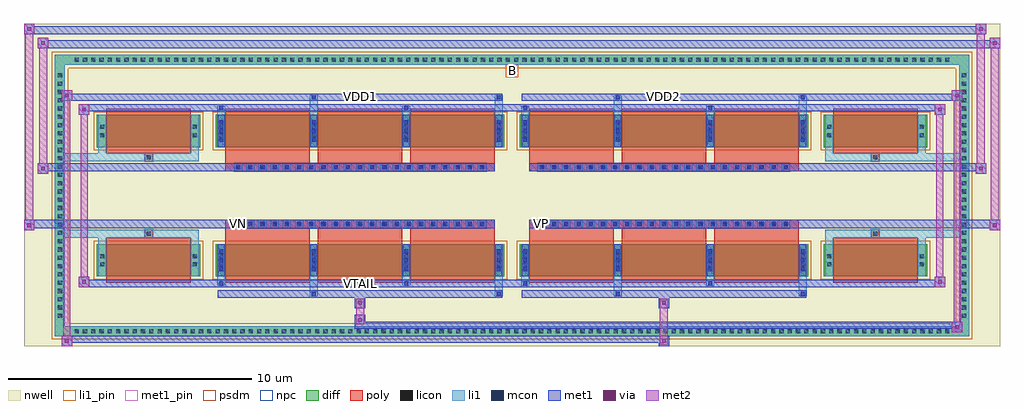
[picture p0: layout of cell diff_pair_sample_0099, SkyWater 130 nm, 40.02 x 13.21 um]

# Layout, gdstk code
import gdstk
lib = gdstk.Library(unit=1e-6, precision=5e-09)
def R(c, l, rs):  # rectangles x0, y0, x1, y1
    for r in rs: c.add(gdstk.rectangle(r[:2], r[2:], *l))
def A(c, l, x, y, w, h, nx, ny, dx, dy):  # array of equal rectangles
    R(c, l, [(x+i*dx, y+j*dy, x+i*dx+w, y+j*dy+h) for i in range(nx) for j in range(ny)])
def P(c, l, *ps):  # polygons
    for p in ps: c.add(gdstk.Polygon(p, *l))
nwell = (64, 20)
diff = (65, 20)
poly = (66, 20)
licon = (66, 44)
li1_pin = (67, 16)
li1 = (67, 20)
mcon = (67, 44)
met1_pin = (68, 16)
met1 = (68, 20)
via = (68, 44)
met2 = (69, 20)
psdm = (94, 20)
npc = (95, 20)

diff_pair_sample_0099 = lib.new_cell('diff_pair_sample_0099')
R(diff_pair_sample_0099, nwell, [(-20.01,-6.17,20.01,7.04), (-17.33,-4.36,-0.01,-0.8), (0.01,-4.36,17.33,-0.8), (-17.33,0.8,-0.01,4.36), (0.01,0.8,17.33,4.36)])
A(diff_pair_sample_0099, diff, -18.055, -5.77, 0.41, 0.41, 106, 2, 0.34, 11.13)
A(diff_pair_sample_0099, diff, -18.74, -5.135, 0.41, 0.41, 1, 30, 0, 0.34)
A(diff_pair_sample_0099, diff, 18.33, -5.135, 0.41, 0.41, 1, 30, 0, 0.34)
R(diff_pair_sample_0099, diff, [(-18.055,-5.77,18.055,-5.36), (-18.74,-5.135,-18.33,5.135), (18.33,-5.135,18.74,5.135), (-17.02,-3.315,-12.78,-1.985), (-12.14,-3.315,-0.32,-1.985), (0.32,-3.315,12.14,-1.985), (12.78,-3.315,17.02,-1.985), (-17.02,1.985,-12.78,3.315), (-12.14,1.985,-0.32,3.315), (0.32,1.985,12.14,3.315), (12.78,1.985,17.02,3.315), (-18.055,5.36,18.055,5.77)])
P(diff_pair_sample_0099, diff, [(18.74,5.77),(-18.74,5.77),(-18.74,-5.36),(-18.33,-5.36),(-18.33,5.36),(18.33,5.36),(18.33,-5.36),(-18.33,-5.36),(-18.74,-5.36),(-18.74,-5.77),(18.74,-5.77)])
A(diff_pair_sample_0099, poly, -11.75, -3.565, 3.46, 1.83, 3, 2, 3.79, 5.3)
A(diff_pair_sample_0099, poly, 0.71, -3.565, 3.46, 1.83, 3, 2, 3.79, 5.3)
A(diff_pair_sample_0099, poly, -11.75, -1.735, 3.46, 0.405, 3, 2, 3.79, 3.065)
A(diff_pair_sample_0099, poly, 0.71, -1.735, 3.46, 0.405, 3, 2, 3.79, 3.065)
A(diff_pair_sample_0099, poly, -11.395, -1.33, 0.33, 0.33, 21, 2, 0.5, 2.33)
A(diff_pair_sample_0099, poly, 1.065, -1.33, 0.33, 0.33, 21, 2, 0.5, 2.33)
R(diff_pair_sample_0099, poly, [(-16.63,-3.565,-13.17,-1.735), (13.17,-3.565,16.63,-1.735), (-15.065,-1.735,-14.735,-1.405), (-15.065,-1.735,-14.735,-1.405), (14.735,-1.735,15.065,-1.405), (14.735,-1.735,15.065,-1.405), (-11.75,-1.33,-0.71,-1), (0.71,-1.33,11.75,-1), (-11.75,1,-0.71,1.33), (0.71,1,11.75,1.33), (-15.065,1.405,-14.735,1.735), (-15.065,1.405,-14.735,1.735), (14.735,1.405,15.065,1.735), (14.735,1.405,15.065,1.735), (-16.63,1.735,-13.17,3.565), (13.17,1.735,16.63,3.565)])
A(diff_pair_sample_0099, licon, -17.935, -5.65, 0.17, 0.17, 106, 2, 0.34, 11.13)
A(diff_pair_sample_0099, licon, -18.62, -5.015, 0.17, 0.17, 1, 30, 0, 0.34)
A(diff_pair_sample_0099, licon, 18.45, -5.015, 0.17, 0.17, 1, 30, 0, 0.34)
A(diff_pair_sample_0099, licon, -12, -2.905, 0.17, 0.17, 4, 2, 3.79, 0.34)
A(diff_pair_sample_0099, licon, 0.46, -2.905, 0.17, 0.17, 4, 2, 3.79, 0.34)
A(diff_pair_sample_0099, licon, -11.315, -1.25, 0.17, 0.17, 21, 2, 0.5, 2.33)
A(diff_pair_sample_0099, licon, 1.145, -1.25, 0.17, 0.17, 21, 2, 0.5, 2.33)
A(diff_pair_sample_0099, licon, -12, 2.395, 0.17, 0.17, 4, 2, 3.79, 0.34)
A(diff_pair_sample_0099, licon, 0.46, 2.395, 0.17, 0.17, 4, 2, 3.79, 0.34)
R(diff_pair_sample_0099, licon, [(-16.88,-2.905,-16.71,-2.735), (-13.09,-2.905,-12.92,-2.735), (12.92,-2.905,13.09,-2.735), (16.71,-2.905,16.88,-2.735), (-16.88,-2.565,-16.71,-2.395), (-13.09,-2.565,-12.92,-2.395), (12.92,-2.565,13.09,-2.395), (16.71,-2.565,16.88,-2.395), (-14.985,-1.655,-14.815,-1.485), (14.815,-1.655,14.985,-1.485), (-14.985,1.485,-14.815,1.655), (14.815,1.485,14.985,1.655), (-16.88,2.395,-16.71,2.565), (-13.09,2.395,-12.92,2.565), (12.92,2.395,13.09,2.565), (16.71,2.395,16.88,2.565), (-16.88,2.735,-16.71,2.905), (-13.09,2.735,-12.92,2.905), (12.92,2.735,13.09,2.905), (16.71,2.735,16.88,2.905)])
R(diff_pair_sample_0099, li1_pin, [(-0.25,4.86,0.25,5.36)])
A(diff_pair_sample_0099, li1, -18.015, -5.73, 0.33, 0.33, 106, 2, 0.34, 11.13)
A(diff_pair_sample_0099, li1, -18.7, -5.095, 0.33, 0.33, 1, 30, 0, 0.34)
A(diff_pair_sample_0099, li1, 18.37, -5.095, 0.33, 0.33, 1, 30, 0, 0.34)
A(diff_pair_sample_0099, li1, -12.08, -3.315, 0.33, 1.33, 4, 2, 3.79, 5.3)
A(diff_pair_sample_0099, li1, 0.38, -3.315, 0.33, 1.33, 4, 2, 3.79, 5.3)
A(diff_pair_sample_0099, li1, -12, -3.095, 0.17, 0.17, 4, 3, 3.79, 0.36)
A(diff_pair_sample_0099, li1, -12, -3.095, 0.17, 0.89, 4, 2, 3.79, 5.3)
A(diff_pair_sample_0099, li1, 0.46, -3.095, 0.17, 0.17, 4, 3, 3.79, 0.36)
A(diff_pair_sample_0099, li1, 0.46, -3.095, 0.17, 0.89, 4, 2, 3.79, 5.3)
A(diff_pair_sample_0099, li1, -12.08, -2.985, 0.33, 0.33, 4, 2, 3.79, 0.34)
A(diff_pair_sample_0099, li1, 0.38, -2.985, 0.33, 0.33, 4, 2, 3.79, 0.34)
A(diff_pair_sample_0099, li1, -11.395, -1.33, 0.33, 0.33, 21, 2, 0.5, 2.33)
A(diff_pair_sample_0099, li1, 1.065, -1.33, 0.33, 0.33, 21, 2, 0.5, 2.33)
A(diff_pair_sample_0099, li1, -12, 2.205, 0.17, 0.17, 4, 3, 3.79, 0.36)
A(diff_pair_sample_0099, li1, 0.46, 2.205, 0.17, 0.17, 4, 3, 3.79, 0.36)
A(diff_pair_sample_0099, li1, -12.08, 2.315, 0.33, 0.33, 4, 2, 3.79, 0.34)
A(diff_pair_sample_0099, li1, 0.38, 2.315, 0.33, 0.33, 4, 2, 3.79, 0.34)
R(diff_pair_sample_0099, li1, [(-18.74,-5.77,-18.33,-5.36), (-18.74,-5.77,-18.33,-5.36), (-18.33,-5.77,18.33,-5.36), (18.33,-5.77,18.74,-5.36), (18.33,-5.77,18.74,-5.36), (-18.74,-5.36,-18.33,5.36), (18.33,-5.36,18.74,5.36), (-8.29,-4.12,-7.96,-3.315), (-8.21,-4.12,-8.04,-3.95), (-0.71,-4.12,-0.38,-3.315), (-0.63,-4.12,-0.46,-3.95), (4.17,-4.12,4.5,-3.315), (4.25,-4.12,4.42,-3.95), (11.75,-4.12,12.08,-3.315), (11.83,-4.12,12,-3.95), (-12.08,-3.69,-11.75,-3.315), (-12,-3.69,-11.83,-3.52), (-4.5,-3.69,-4.17,-3.315), (-4.42,-3.69,-4.25,-3.52), (0.38,-3.69,0.71,-3.315), (0.46,-3.69,0.63,-3.52), (7.96,-3.69,8.29,-3.315), (8.04,-3.69,8.21,-3.52), (-16.96,-3.315,-16.63,-1.985), (-13.17,-3.315,-12.84,-1.985), (12.84,-3.315,13.17,-1.985), (16.63,-3.315,16.96,-1.985), (-16.96,-2.985,-16.63,-2.655), (-13.17,-2.985,-12.84,-2.655), (12.84,-2.985,13.17,-2.655), (16.63,-2.985,16.96,-2.655), (-16.96,-2.645,-16.63,-2.315), (-13.17,-2.645,-12.84,-2.315), (12.84,-2.645,13.17,-2.315), (16.63,-2.645,16.96,-2.315), (-16.96,-1.985,-16.63,-1.405), (-13.17,-1.985,-12.84,-1.405), (12.84,-1.985,13.17,-1.405), (16.63,-1.985,16.96,-1.405), (-18.74,-1.735,-15.065,-1.405), (-16.96,-1.735,-15.065,-1.405), (-15.065,-1.735,-14.735,-1.405), (-14.735,-1.735,-12.84,-1.405), (12.84,-1.735,14.735,-1.405), (14.735,-1.735,15.065,-1.405), (14.735,-1.735,18.74,-1.405), (15.065,-1.735,16.96,-1.405), (-18.74,1.405,-15.065,1.735), (-16.96,1.405,-15.065,1.735), (-16.96,1.405,-16.63,1.985), (-15.065,1.405,-14.735,1.735), (-14.735,1.405,-12.84,1.735), (-13.17,1.405,-12.84,1.985), (12.84,1.405,14.735,1.735), (12.84,1.405,13.17,1.985), (14.735,1.405,15.065,1.735), (14.735,1.405,18.74,1.735), (15.065,1.405,16.96,1.735), (16.63,1.405,16.96,1.985), (-16.96,1.985,-16.63,3.315), (-13.17,1.985,-12.84,3.315), (12.84,1.985,13.17,3.315), (16.63,1.985,16.96,3.315), (-16.96,2.315,-16.63,2.645), (-13.17,2.315,-12.84,2.645), (12.84,2.315,13.17,2.645), (16.63,2.315,16.96,2.645), (-16.96,2.655,-16.63,2.985), (-13.17,2.655,-12.84,2.985), (12.84,2.655,13.17,2.985), (16.63,2.655,16.96,2.985), (-12.08,3.315,-11.75,3.69), (-8.29,3.315,-7.96,4.12), (-4.5,3.315,-4.17,3.69), (-0.71,3.315,-0.38,4.12), (0.38,3.315,0.71,3.69), (4.17,3.315,4.5,4.12), (7.96,3.315,8.29,3.69), (11.75,3.315,12.08,4.12), (-12,3.52,-11.83,3.69), (-4.42,3.52,-4.25,3.69), (0.46,3.52,0.63,3.69), (8.04,3.52,8.21,3.69), (-8.21,3.95,-8.04,4.12), (-0.63,3.95,-0.46,4.12), (4.25,3.95,4.42,4.12), (11.83,3.95,12,4.12), (-18.74,5.36,-18.33,5.77), (-18.74,5.36,-18.33,5.77), (-18.33,5.36,18.33,5.77), (18.33,5.36,18.74,5.77), (18.33,5.36,18.74,5.77)])
A(diff_pair_sample_0099, mcon, -12, -3.095, 0.17, 0.17, 4, 3, 3.79, 0.36)
A(diff_pair_sample_0099, mcon, 0.46, -3.095, 0.17, 0.17, 4, 3, 3.79, 0.36)
A(diff_pair_sample_0099, mcon, -11.315, -1.25, 0.17, 0.17, 21, 2, 0.5, 2.33)
A(diff_pair_sample_0099, mcon, 1.145, -1.25, 0.17, 0.17, 21, 2, 0.5, 2.33)
A(diff_pair_sample_0099, mcon, -12, 2.205, 0.17, 0.17, 4, 3, 3.79, 0.36)
A(diff_pair_sample_0099, mcon, 0.46, 2.205, 0.17, 0.17, 4, 3, 3.79, 0.36)
R(diff_pair_sample_0099, mcon, [(-8.21,-4.12,-8.04,-3.95), (-0.63,-4.12,-0.46,-3.95), (4.25,-4.12,4.42,-3.95), (11.83,-4.12,12,-3.95), (-12,-3.69,-11.83,-3.52), (-4.42,-3.69,-4.25,-3.52), (0.46,-3.69,0.63,-3.52), (8.04,-3.69,8.21,-3.52), (-12,3.52,-11.83,3.69), (-4.42,3.52,-4.25,3.69), (0.46,3.52,0.63,3.69), (8.04,3.52,8.21,3.69), (-8.21,3.95,-8.04,4.12), (-0.63,3.95,-0.46,4.12), (4.25,3.95,4.42,4.12), (11.83,3.95,12,4.12)])
R(diff_pair_sample_0099, met1_pin, [(-6.365,-3.73,-6.095,-3.46), (-11.365,-1.29,-11.095,-1.02), (1.095,-1.29,1.365,-1.02), (-6.365,3.91,-6.095,4.18), (6.095,3.91,6.365,4.18)])
A(diff_pair_sample_0099, met1, -12.06, -3.315, 0.29, 1.33, 4, 2, 3.79, 5.3)
A(diff_pair_sample_0099, met1, 0.4, -3.315, 0.29, 1.33, 4, 2, 3.79, 5.3)
A(diff_pair_sample_0099, met1, -12.06, -3.155, 0.29, 0.29, 4, 3, 3.79, 0.36)
A(diff_pair_sample_0099, met1, 0.4, -3.155, 0.29, 0.29, 4, 3, 3.79, 0.36)
A(diff_pair_sample_0099, met1, -11.375, -1.31, 0.29, 0.29, 21, 2, 0.5, 2.33)
A(diff_pair_sample_0099, met1, 1.085, -1.31, 0.29, 0.29, 21, 2, 0.5, 2.33)
A(diff_pair_sample_0099, met1, -12.06, 2.145, 0.29, 0.29, 4, 3, 3.79, 0.36)
A(diff_pair_sample_0099, met1, 0.4, 2.145, 0.29, 0.29, 4, 3, 3.79, 0.36)
R(diff_pair_sample_0099, met1, [(-18.47,-6.17,-18.04,-5.74), (6.015,-6.17,6.445,-5.74), (-18.47,-6.03,6.445,-5.74), (18.04,-5.6,18.47,-5.17), (-6.445,-5.46,18.47,-5.17), (-6.445,-5.32,-6.015,-4.89), (-6.445,-4.61,-6.015,-4.18), (6.015,-4.61,6.445,-4.18), (-12.06,-4.18,-0.4,-3.89), (-8.27,-4.18,-7.98,-3.89), (-0.69,-4.18,-0.4,-3.89), (0.4,-4.18,12.06,-3.89), (4.19,-4.18,4.48,-3.89), (11.77,-4.18,12.06,-3.89), (-17.76,-3.75,-17.33,-3.32), (-17.76,-3.75,-12.06,-3.46), (-12.06,-3.75,-11.77,-3.46), (-12.06,-3.75,-0.4,-3.46), (-4.48,-3.75,-4.19,-3.46), (-0.4,-3.75,0.4,-3.46), (0.4,-3.75,0.69,-3.46), (0.4,-3.75,12.06,-3.46), (7.98,-3.75,8.27,-3.46), (12.06,-3.75,17.76,-3.46), (17.33,-3.75,17.76,-3.32), (-20.01,-1.43,-19.58,-1), (19.58,-1.43,20.01,-1), (-20.01,-1.33,-0.71,-1), (-11.75,-1.33,-0.71,-1), (0.71,-1.33,11.75,-1), (0.71,-1.33,20.01,-1), (-19.44,0.9,-19.01,1.33), (19.01,0.9,19.44,1.33), (-19.44,1,-11.75,1.33), (-11.75,1,-0.71,1.33), (0.71,1,11.75,1.33), (11.75,1,19.44,1.33), (-17.76,3.32,-17.33,3.75), (17.33,3.32,17.76,3.75), (-17.76,3.46,-12.06,3.75), (-12.06,3.46,-11.77,3.75), (-12.06,3.46,-0.4,3.75), (-4.48,3.46,-4.19,3.75), (-0.4,3.46,0.4,3.75), (0.4,3.46,0.69,3.75), (0.4,3.46,12.06,3.75), (7.98,3.46,8.27,3.75), (12.06,3.46,17.76,3.75), (-18.47,3.89,-18.04,4.32), (-18.47,3.89,-12.06,4.18), (-12.06,3.89,-0.4,4.18), (-8.27,3.89,-7.98,4.18), (-0.69,3.89,-0.4,4.18), (0.4,3.89,12.06,4.18), (4.19,3.89,4.48,4.18), (11.77,3.89,12.06,4.18), (12.06,3.89,18.47,4.18), (18.04,3.89,18.47,4.32), (-19.44,6.04,-19.01,6.47), (-19.44,6.04,-17.33,6.37), (-17.33,6.04,17.33,6.37), (17.33,6.04,20.01,6.37), (19.58,6.04,20.01,6.47), (-20.01,6.61,-19.58,7.04), (-20.01,6.61,-17.33,6.94), (-17.33,6.61,17.33,6.94), (17.33,6.61,19.44,6.94), (19.01,6.61,19.44,7.04)])
R(diff_pair_sample_0099, via, [(-18.33,-6.03,-18.18,-5.88), (6.155,-6.03,6.305,-5.88), (18.18,-5.46,18.33,-5.31), (-6.305,-5.18,-6.155,-5.03), (-6.305,-4.47,-6.155,-4.32), (6.155,-4.47,6.305,-4.32), (-17.62,-3.61,-17.47,-3.46), (17.47,-3.61,17.62,-3.46), (-19.87,-1.29,-19.72,-1.14), (19.72,-1.29,19.87,-1.14), (-19.3,1.04,-19.15,1.19), (19.15,1.04,19.3,1.19), (-17.62,3.46,-17.47,3.61), (17.47,3.46,17.62,3.61), (-18.33,4.03,-18.18,4.18), (18.18,4.03,18.33,4.18), (-19.3,6.18,-19.15,6.33), (19.72,6.18,19.87,6.33), (-19.87,6.75,-19.72,6.9), (19.15,6.75,19.3,6.9)])
R(diff_pair_sample_0099, met2, [(-18.47,-6.17,-18.04,-5.74), (-18.4,-6.17,-18.11,4.32), (-18.11,-6.17,-18.04,-5.74), (-18.42,-6.12,-18.09,-5.79), (6.065,-6.12,6.395,-5.79), (6.065,-5.79,6.395,-4.56), (18.04,-5.6,18.47,-5.17), (18.11,-5.6,18.4,4.32), (18.4,-5.6,18.47,-5.17), (18.09,-5.55,18.42,-5.22), (-6.395,-5.27,-6.065,-4.94), (-6.395,-4.94,-6.065,-4.56), (-6.395,-4.56,-6.065,-4.23), (6.065,-4.56,6.395,-4.23), (-17.76,-3.75,-17.33,-3.32), (-17.69,-3.75,-17.4,3.75), (-17.4,-3.75,-17.33,-3.32), (17.33,-3.75,17.76,-3.32), (17.4,-3.75,17.69,3.75), (17.69,-3.75,17.76,-3.32), (-17.71,-3.7,-17.38,-3.37), (17.38,-3.7,17.71,-3.37), (-20.01,-1.43,-19.58,-1), (-19.96,-1.43,-19.63,7.04), (-19.63,-1.43,-19.58,-1), (19.58,-1.43,20.01,-1), (19.63,-1.43,19.96,6.47), (19.96,-1.43,20.01,-1), (-19.96,-1.38,-19.63,-1.05), (19.63,-1.38,19.96,-1.05), (-19.44,0.9,-19.01,1.33), (-19.39,0.9,-19.06,6.47), (-19.06,0.9,-19.01,1.33), (19.01,0.9,19.44,1.33), (19.06,0.9,19.39,7.04), (19.39,0.9,19.44,1.33), (-19.39,0.95,-19.06,1.28), (19.06,0.95,19.39,1.28), (-17.76,3.32,-17.33,3.75), (-17.4,3.32,-17.33,3.75), (17.33,3.32,17.76,3.75), (17.69,3.32,17.76,3.75), (-17.71,3.37,-17.38,3.7), (17.38,3.37,17.71,3.7), (-18.47,3.89,-18.04,4.32), (-18.11,3.89,-18.04,4.32), (18.04,3.89,18.47,4.32), (18.4,3.89,18.47,4.32), (-18.42,3.94,-18.09,4.27), (18.09,3.94,18.42,4.27), (-19.44,6.04,-19.01,6.47), (-19.06,6.04,-19.01,6.47), (19.58,6.04,20.01,6.47), (19.96,6.04,20.01,6.47), (-19.39,6.09,-19.06,6.42), (19.63,6.09,19.96,6.42), (-20.01,6.61,-19.58,7.04), (-19.63,6.61,-19.58,7.04), (19.01,6.61,19.44,7.04), (19.39,6.61,19.44,7.04), (-19.96,6.66,-19.63,6.99), (19.06,6.66,19.39,6.99)])
R(diff_pair_sample_0099, psdm, [(-17.15,-3.445,-12.65,-1.855), (-12.27,-3.445,-0.19,-1.855), (0.19,-3.445,12.27,-1.855), (12.65,-3.445,17.15,-1.855), (-17.15,1.855,-12.65,3.445), (-12.27,1.855,-0.19,3.445), (0.19,1.855,12.27,3.445), (12.65,1.855,17.15,3.445)])
P(diff_pair_sample_0099, psdm, [(18.87,5.9),(-18.87,5.9),(-18.87,-5.23),(-18.2,-5.23),(-18.2,5.23),(18.2,5.23),(18.2,-5.23),(-18.2,-5.23),(-18.87,-5.23),(-18.87,-5.9),(18.87,-5.9)])
A(diff_pair_sample_0099, npc, -11.415, -1.35, 0.37, 0.37, 21, 2, 0.5, 2.33)
A(diff_pair_sample_0099, npc, 1.045, -1.35, 0.37, 0.37, 21, 2, 0.5, 2.33)
R(diff_pair_sample_0099, npc, [(-15.085,-1.755,-14.715,-1.385), (14.715,-1.755,15.085,-1.385), (-11.415,-1.35,-10.545,-0.98), (-11.415,-1.35,-10.545,-0.98), (-10.915,-1.35,-10.045,-0.98), (-10.915,-1.35,-10.045,-0.98), (-10.415,-1.35,-9.545,-0.98), (-10.415,-1.35,-9.545,-0.98), (-9.915,-1.35,-9.045,-0.98), (-9.915,-1.35,-9.045,-0.98), (-9.415,-1.35,-8.545,-0.98), (-9.415,-1.35,-8.545,-0.98), (-8.915,-1.35,-8.045,-0.98), (-8.915,-1.35,-8.045,-0.98), (-8.415,-1.35,-7.545,-0.98), (-8.415,-1.35,-7.545,-0.98), (-7.915,-1.35,-7.045,-0.98), (-7.915,-1.35,-7.045,-0.98), (-7.415,-1.35,-6.545,-0.98), (-7.415,-1.35,-6.545,-0.98), (-6.915,-1.35,-6.045,-0.98), (-6.915,-1.35,-6.045,-0.98), (-6.415,-1.35,-5.545,-0.98), (-6.415,-1.35,-5.545,-0.98), (-5.915,-1.35,-5.045,-0.98), (-5.915,-1.35,-5.045,-0.98), (-5.415,-1.35,-4.545,-0.98), (-5.415,-1.35,-4.545,-0.98), (-4.915,-1.35,-4.045,-0.98), (-4.915,-1.35,-4.045,-0.98), (-4.415,-1.35,-3.545,-0.98), (-4.415,-1.35,-3.545,-0.98), (-3.915,-1.35,-3.045,-0.98), (-3.915,-1.35,-3.045,-0.98), (-3.415,-1.35,-2.545,-0.98), (-3.415,-1.35,-2.545,-0.98), (-2.915,-1.35,-2.045,-0.98), (-2.915,-1.35,-2.045,-0.98), (-2.415,-1.35,-1.545,-0.98), (-2.415,-1.35,-1.545,-0.98), (-1.915,-1.35,-1.045,-0.98), (-1.915,-1.35,-1.045,-0.98), (1.045,-1.35,1.915,-0.98), (1.045,-1.35,1.915,-0.98), (1.545,-1.35,2.415,-0.98), (1.545,-1.35,2.415,-0.98), (2.045,-1.35,2.915,-0.98), (2.045,-1.35,2.915,-0.98), (2.545,-1.35,3.415,-0.98), (2.545,-1.35,3.415,-0.98), (3.045,-1.35,3.915,-0.98), (3.045,-1.35,3.915,-0.98), (3.545,-1.35,4.415,-0.98), (3.545,-1.35,4.415,-0.98), (4.045,-1.35,4.915,-0.98), (4.045,-1.35,4.915,-0.98), (4.545,-1.35,5.415,-0.98), (4.545,-1.35,5.415,-0.98), (5.045,-1.35,5.915,-0.98), (5.045,-1.35,5.915,-0.98), (5.545,-1.35,6.415,-0.98), (5.545,-1.35,6.415,-0.98), (6.045,-1.35,6.915,-0.98), (6.045,-1.35,6.915,-0.98), (6.545,-1.35,7.415,-0.98), (6.545,-1.35,7.415,-0.98), (7.045,-1.35,7.915,-0.98), (7.045,-1.35,7.915,-0.98), (7.545,-1.35,8.415,-0.98), (7.545,-1.35,8.415,-0.98), (8.045,-1.35,8.915,-0.98), (8.045,-1.35,8.915,-0.98), (8.545,-1.35,9.415,-0.98), (8.545,-1.35,9.415,-0.98), (9.045,-1.35,9.915,-0.98), (9.045,-1.35,9.915,-0.98), (9.545,-1.35,10.415,-0.98), (9.545,-1.35,10.415,-0.98), (10.045,-1.35,10.915,-0.98), (10.045,-1.35,10.915,-0.98), (10.545,-1.35,11.415,-0.98), (10.545,-1.35,11.415,-0.98), (-11.415,0.98,-10.545,1.35), (-11.415,0.98,-10.545,1.35), (-10.915,0.98,-10.045,1.35), (-10.915,0.98,-10.045,1.35), (-10.415,0.98,-9.545,1.35), (-10.415,0.98,-9.545,1.35), (-9.915,0.98,-9.045,1.35), (-9.915,0.98,-9.045,1.35), (-9.415,0.98,-8.545,1.35), (-9.415,0.98,-8.545,1.35), (-8.915,0.98,-8.045,1.35), (-8.915,0.98,-8.045,1.35), (-8.415,0.98,-7.545,1.35), (-8.415,0.98,-7.545,1.35), (-7.915,0.98,-7.045,1.35), (-7.915,0.98,-7.045,1.35), (-7.415,0.98,-6.545,1.35), (-7.415,0.98,-6.545,1.35), (-6.915,0.98,-6.045,1.35), (-6.915,0.98,-6.045,1.35), (-6.415,0.98,-5.545,1.35), (-6.415,0.98,-5.545,1.35), (-5.915,0.98,-5.045,1.35), (-5.915,0.98,-5.045,1.35), (-5.415,0.98,-4.545,1.35), (-5.415,0.98,-4.545,1.35), (-4.915,0.98,-4.045,1.35), (-4.915,0.98,-4.045,1.35), (-4.415,0.98,-3.545,1.35), (-4.415,0.98,-3.545,1.35), (-3.915,0.98,-3.045,1.35), (-3.915,0.98,-3.045,1.35), (-3.415,0.98,-2.545,1.35), (-3.415,0.98,-2.545,1.35), (-2.915,0.98,-2.045,1.35), (-2.915,0.98,-2.045,1.35), (-2.415,0.98,-1.545,1.35), (-2.415,0.98,-1.545,1.35), (-1.915,0.98,-1.045,1.35), (-1.915,0.98,-1.045,1.35), (1.045,0.98,1.915,1.35), (1.045,0.98,1.915,1.35), (1.545,0.98,2.415,1.35), (1.545,0.98,2.415,1.35), (2.045,0.98,2.915,1.35), (2.045,0.98,2.915,1.35), (2.545,0.98,3.415,1.35), (2.545,0.98,3.415,1.35), (3.045,0.98,3.915,1.35), (3.045,0.98,3.915,1.35), (3.545,0.98,4.415,1.35), (3.545,0.98,4.415,1.35), (4.045,0.98,4.915,1.35), (4.045,0.98,4.915,1.35), (4.545,0.98,5.415,1.35), (4.545,0.98,5.415,1.35), (5.045,0.98,5.915,1.35), (5.045,0.98,5.915,1.35), (5.545,0.98,6.415,1.35), (5.545,0.98,6.415,1.35), (6.045,0.98,6.915,1.35), (6.045,0.98,6.915,1.35), (6.545,0.98,7.415,1.35), (6.545,0.98,7.415,1.35), (7.045,0.98,7.915,1.35), (7.045,0.98,7.915,1.35), (7.545,0.98,8.415,1.35), (7.545,0.98,8.415,1.35), (8.045,0.98,8.915,1.35), (8.045,0.98,8.915,1.35), (8.545,0.98,9.415,1.35), (8.545,0.98,9.415,1.35), (9.045,0.98,9.915,1.35), (9.045,0.98,9.915,1.35), (9.545,0.98,10.415,1.35), (9.545,0.98,10.415,1.35), (10.045,0.98,10.915,1.35), (10.045,0.98,10.915,1.35), (10.545,0.98,11.415,1.35), (10.545,0.98,11.415,1.35), (-15.085,1.385,-14.715,1.755), (14.715,1.385,15.085,1.755)])
diff_pair_sample_0099.add(gdstk.Label('VTAIL', (-6.23,-3.595), layer=68, texttype=5))
diff_pair_sample_0099.add(gdstk.Label('VN', (-11.23,-1.155), layer=68, texttype=5))
diff_pair_sample_0099.add(gdstk.Label('VP', (1.23,-1.155), layer=68, texttype=5))
diff_pair_sample_0099.add(gdstk.Label('B', (0,5.11), layer=67, texttype=5))
diff_pair_sample_0099.add(gdstk.Label('VDD2', (6.23,4.045), layer=68, texttype=5))
diff_pair_sample_0099.add(gdstk.Label('VDD1', (-6.23,4.045), layer=68, texttype=5))

lib.write_gds('diff_pair_sample_0099.gds')
